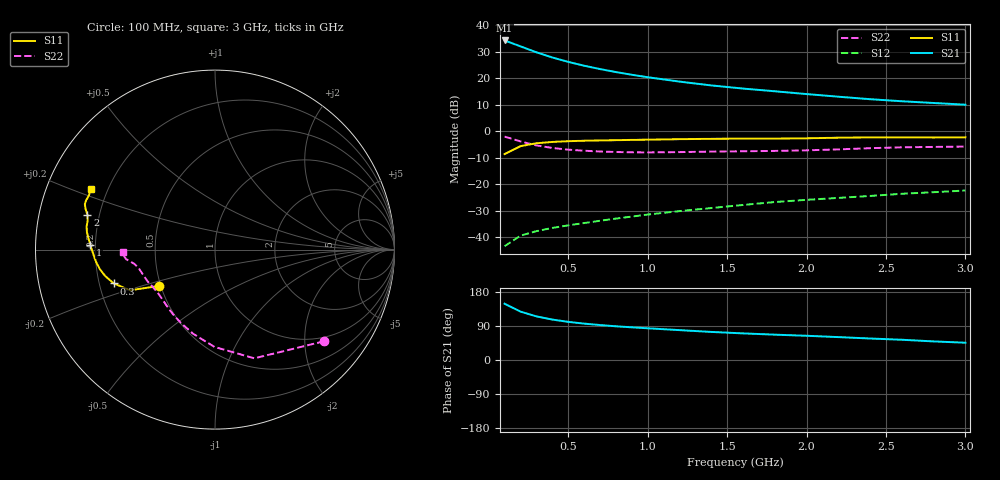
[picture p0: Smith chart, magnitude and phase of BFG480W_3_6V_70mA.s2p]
! Filename: 3_670BFG480.001
! Title: BFG480W
! Bias: Vce=3.6V; Ic=70mA
! Company: Philips Semiconductors NL
! User: Quality&Reliability T&D
! Measure time: 10 Nov 1999 / 12:00:21
#  MHz  S  MA  R 50
! Freq  S11  S21  S12  S22  :
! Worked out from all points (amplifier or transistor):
!   20 points, 100 MHz to 3 GHz, reference 50 ohm
!   highest |S21| = 34.3 dB at 100 MHz (marker M1)
!   |S21| within 3 dB of that: start of sweep to 234.7 MHz
!   unconditionally stable (mu >= 1): 838.9 MHz to end of sweep
!   at 400 MHz: K = 0.73, MSG = 32.2 dB, |S12| = -36.5 dB
!   at 1.2 GHz: K = 1.06, MAG = 22.9 dB, |S12| = -30.1 dB
!   at 3 GHz: K = 1.05, MAG = 14.8 dB, |S12| = -22.3 dB
!   S11 on the Smith chart (normalised r, x): 100 MHz: 0.49, -0.23; 300 MHz: 0.26, -0.15; 1 GHz: 0.18, +0.02; 2 GHz: 0.15, +0.13; 3 GHz: 0.14, +0.23
100  0.3719 -147.0  51.68 148.5  0.006805 68.7  0.7939 -40.0
200  0.5244 -154.4  40.01 127.7  0.01076 59.2  0.6442 -70.1
300  0.5943 -161.5  30.92 115.1  0.01306 56.9  0.5421 -90.3
400  0.6296 -166.5  24.69 106.8  0.01502 57.4  0.4843 -104.6
500  0.6502 -170.3  20.4 100.7  0.01678 59.0  0.4503 -115.1
600  0.6632 -173.3  17.26 96.0  0.01859 60.9  0.4296 -123.0
700  0.672 -175.9  14.93 92.2  0.02051 62.9  0.4157 -129.2
800  0.6794 -178.2  13.11 89.0  0.02253 65.0  0.4065 -134.4
900  0.6877 179.7  11.65 86.3  0.02461 66.9  0.4013 -138.8
1000  0.6947 177.8  10.48 83.7  0.02684 68.2  0.3997 -142.8
1200  0.7099 174.6  8.655 78.8  0.03118 70.3  0.4048 -149.3
1400  0.7208 172.1  7.331 74.1  0.03565 71.6  0.4139 -154.1
1600  0.7268 169.7  6.395 70.2  0.04074 72.8  0.4196 -157.8
1800  0.7278 167.0  5.687 66.9  0.04627 73.6  0.4263 -161.6
2000  0.7373 164.7  5.035 63.9  0.0509 74.5  0.437 -166.1
2200  0.7565 162.5  4.493 60.4  0.05535 74.6  0.4558 -169.9
2400  0.7682 160.7  4.03 56.7  0.06025 74.2  0.4798 -172.3
2600  0.7687 159.0  3.685 53.4  0.06623 73.7  0.4986 -173.9
2800  0.7646 156.8  3.418 49.0  0.07095 72.5  0.5072 -175.8
3000  0.7695 154.1  3.174 45.6  0.07632 71.8  0.5146 -178.7
